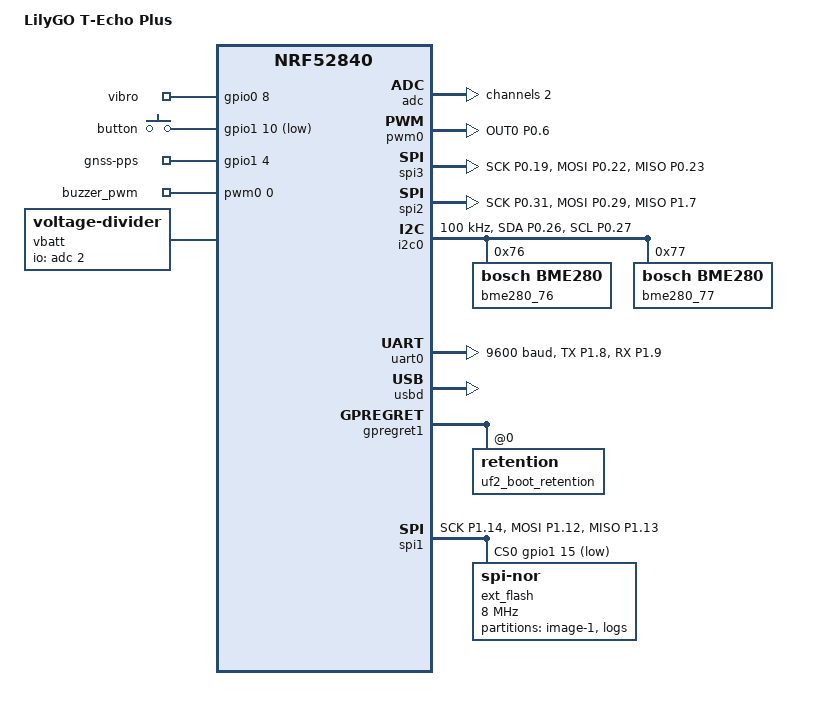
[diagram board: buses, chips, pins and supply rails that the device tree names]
/dts-v1/;
#include <nordic/nrf52840_qiaa.dtsi>
#include <zephyr/dt-bindings/adc/adc.h>
#include <zephyr/dt-bindings/adc/nrf-saadc.h>
#include <zephyr/dt-bindings/gpio/gpio.h>
#include <zephyr/dt-bindings/i2c/i2c.h>


/ {
	model = "LilyGO T-Echo Plus";
	compatible = "lilygo,t-echo-plus";

	chosen {
		zephyr,sram = &sram0;
		zephyr,flash = &flash0;
		zephyr,code-partition = &slot0_partition;
		zephyr,console = &cdc_acm_uart0;
		zephyr,shell-uart = &cdc_acm_uart0;
	};

	aliases {
		radio-spi = &spi3;
		epd-spi = &spi2;
		gnss-uart = &uart0;
		buzzer = &buzzer_pwm;
		vibro = &vibro_gpio;
		button = &button_gpio;
		gnss-pps = &gnss_pps_gpio;
		watchdog0 = &wdt0;
	};

	board_gpios {
		compatible = "gpio-keys";

		/* Plus-only haptic driver enable (P0.08). */
		vibro_gpio: vibro {
			gpios = <&gpio0 8 GPIO_ACTIVE_HIGH>;
			label = "vibro";
		};

		/* Main button (P1.10), active-low with a pull-up. */
		button_gpio: button {
			gpios = <&gpio1 10 (GPIO_ACTIVE_LOW | GPIO_PULL_UP)>;
			label = "button";
		};

		/* L76K 1 PPS (P1.04): the slot clock's only hardware anchor. */
		gnss_pps_gpio: gnss_pps {
			gpios = <&gpio1 4 GPIO_ACTIVE_HIGH>;
			label = "gnss-pps";
		};
	};

	pwmleds {
		compatible = "pwm-leds";
		buzzer_pwm: buzzer_pwm {
			pwms = <&pwm0 0 PWM_HZ(2000) PWM_POLARITY_NORMAL>;
		};
	};

	/*
	 * Battery sense: the pack sits behind a 100K + 100K divider on P0.04
	 * (AIN2), so the ADC sees half the cell voltage. Ratio lives here, not in
	 * code: it is a fact about the board, and the divider driver scales the
	 * reading back with it.
	 * sources: SoftRF platform/nRF52.h SOC_GPIO_PIN_BATTERY = P0.04 with
	 * SOC_ADC_VOLTAGE_DIV 2.0, and Meshtastic's t-echo variant (same net).
	 */
	vbatt: vbatt {
		compatible = "voltage-divider";
		io-channels = <&adc 2>;
		output-ohms = <100000>;
		full-ohms = <200000>;
	};
};

/*
 * SAADC for the battery divider. 0.6 V internal reference at gain 1/6 gives a
 * 3.6 V full scale, against the 2.1 V the divider presents at full charge; 40 us
 * of acquisition is what a 100K source impedance needs to settle.
 */
&adc {
	status = "okay";
	#address-cells = <1>;
	#size-cells = <0>;

	channel@2 {
		reg = <2>;
		zephyr,gain = "ADC_GAIN_1_6";
		zephyr,reference = "ADC_REF_INTERNAL";
		zephyr,acquisition-time = <ADC_ACQ_TIME(ADC_ACQ_TIME_MICROSECONDS, 40)>;
		zephyr,input-positive = <NRF_SAADC_AIN2>;
		zephyr,resolution = <12>;
	};
};

&pinctrl {
	/* Radio SPI (SX1262): SCK P0.19, MOSI P0.22, MISO P0.23. Confirmed. */
	spi3_default: spi3_default {
		group1 {
			psels = <NRF_PSEL(SPIM_SCK, 0, 19)>,
				<NRF_PSEL(SPIM_MOSI, 0, 22)>,
				<NRF_PSEL(SPIM_MISO, 0, 23)>;
		};
	};
	spi3_sleep: spi3_sleep {
		group1 {
			psels = <NRF_PSEL(SPIM_SCK, 0, 19)>,
				<NRF_PSEL(SPIM_MOSI, 0, 22)>,
				<NRF_PSEL(SPIM_MISO, 0, 23)>;
			low-power-enable;
		};
	};

	/*
	 * E-paper SPI (SSD1681): SCK P0.31, MOSI P0.29, MISO P1.07.
	 *
	 * P1.07 is a placeholder MISO: the panel is write-only. It is P1.07 and
	 * not P0.07 on purpose: P0.07 belongs to the external flash (IO2/WP#, see
	 * board.c), and Meshtastic's t-echo-plus variant.h:113 picks P1.07 for the
	 * same reason.
	 */
	spi2_default: spi2_default {
		group1 {
			psels = <NRF_PSEL(SPIM_SCK, 0, 31)>,
				<NRF_PSEL(SPIM_MOSI, 0, 29)>,
				<NRF_PSEL(SPIM_MISO, 1, 7)>;
		};
	};
	spi2_sleep: spi2_sleep {
		group1 {
			psels = <NRF_PSEL(SPIM_SCK, 0, 31)>,
				<NRF_PSEL(SPIM_MOSI, 0, 29)>,
				<NRF_PSEL(SPIM_MISO, 1, 7)>;
			low-power-enable;
		};
	};

	/* External flash, on SPIM1 rather than the QSPI peripheral - see the node
	 * below for why. Same six lines as the QSPI wiring:
	 *   SCK P1.14  CS P1.15  IO0/MOSI P1.12  IO1/MISO P1.13  IO2 P0.07  IO3 P0.05
	 * IO2/IO3 are WP# and HOLD# in single-line mode and are driven high by
	 * board.c, not by pinctrl, because they must be high before MCUboot's flash
	 * driver runs.
	 * sources: Meshtastic t-echo-plus variant.h:70-75, nrf52-ogn-tracker
	 * variants/t_echo/variant.h:56-61, and SoftRF iomap/LilyGO_TEcho.h:88-93.
	 */
	spi1_default: spi1_default {
		group1 {
			psels = <NRF_PSEL(SPIM_SCK, 1, 14)>,
				<NRF_PSEL(SPIM_MOSI, 1, 12)>,
				<NRF_PSEL(SPIM_MISO, 1, 13)>;
		};
	};
	spi1_sleep: spi1_sleep {
		group1 {
			psels = <NRF_PSEL(SPIM_SCK, 1, 14)>,
				<NRF_PSEL(SPIM_MOSI, 1, 12)>,
				<NRF_PSEL(SPIM_MISO, 1, 13)>;
			low-power-enable;
		};
	};

	/* GNSS UART (L76K): nRF TX P1.08 -> GPS RX, nRF RX P1.09 <- GPS TX. Confirmed. */
	uart0_default: uart0_default {
		group1 {
			psels = <NRF_PSEL(UART_TX, 1, 8)>;
		};
		group2 {
			psels = <NRF_PSEL(UART_RX, 1, 9)>;
			bias-pull-up;
		};
	};
	uart0_sleep: uart0_sleep {
		group1 {
			psels = <NRF_PSEL(UART_TX, 1, 8)>, <NRF_PSEL(UART_RX, 1, 9)>;
			low-power-enable;
		};
	};

	/* Sensor I2C (BME280 @ 0x76): SDA P0.26, SCL P0.27.
	 * TWIM0 shares its peripheral ID with SPIM0/SPIS0, which this board does
	 * not use (the radio is on spi3, the panel on spi2), so i2c0 is free. */
	i2c0_default: i2c0_default {
		group1 {
			psels = <NRF_PSEL(TWIM_SDA, 0, 26)>, <NRF_PSEL(TWIM_SCL, 0, 27)>;
		};
	};
	i2c0_sleep: i2c0_sleep {
		group1 {
			psels = <NRF_PSEL(TWIM_SDA, 0, 26)>, <NRF_PSEL(TWIM_SCL, 0, 27)>;
			low-power-enable;
		};
	};

	/* Buzzer PWM on P0.06 (Meshtastic t-echo-plus PIN_BUZZER). Plus-only. */
	pwm0_default: pwm0_default {
		group1 {
			psels = <NRF_PSEL(PWM_OUT0, 0, 6)>;
		};
	};
	pwm0_sleep: pwm0_sleep {
		group1 {
			psels = <NRF_PSEL(PWM_OUT0, 0, 6)>;
			low-power-enable;
		};
	};
};

&gpio0 { status = "okay"; };
&gpio1 { status = "okay"; };
&gpiote { status = "okay"; };

&pwm0 {
	status = "okay";
	pinctrl-0 = <&pwm0_default>;
	pinctrl-1 = <&pwm0_sleep>;
	pinctrl-names = "default", "sleep";
};

&spi3 {
	compatible = "nordic,nrf-spim";
	status = "okay";
	pinctrl-0 = <&spi3_default>;
	pinctrl-1 = <&spi3_sleep>;
	pinctrl-names = "default", "sleep";
	/* CS driven manually by the SX1262 driver (io::Spi::select) on P0.24. */
	cs-gpios = <&gpio0 24 GPIO_ACTIVE_LOW>;
};

&spi2 {
	compatible = "nordic,nrf-spim";
	status = "okay";
	pinctrl-0 = <&spi2_default>;
	pinctrl-1 = <&spi2_sleep>;
	pinctrl-names = "default", "sleep";
	/* CS driven manually by the SSD1681 driver on P0.30. */
	cs-gpios = <&gpio0 30 GPIO_ACTIVE_LOW>;
};

/* Sensor I2C. Nothing on this bus is guaranteed to be fitted.
 *
 * The BME280 is "optional, selected" in our BOM, AND its address is disputed:
 * Our BOM says 0x76, LilyGO's own README I2C table and SoftRF's
 * platform/nRF52.h both say 0x77. Nobody has checked a unit. So BOTH are
 * declared: Zephyr's driver verifies the chip id at init, the absent one simply
 * never becomes ready, and the application takes whichever answered. Two device
 * instances cost a few hundred bytes and buy one image that boots on either
 * variant instead of silently having no barometer on half of them.
 *
 * The IMU header (0x28 BHI260AP / 0x68 ICM-20948) is deliberately not declared:
 * nothing drives it.
 */
&i2c0 {
	compatible = "nordic,nrf-twim";
	status = "okay";
	pinctrl-0 = <&i2c0_default>;
	pinctrl-1 = <&i2c0_sleep>;
	pinctrl-names = "default", "sleep";
	clock-frequency = <I2C_BITRATE_STANDARD>;

	bme280_76: bme280@76 {
		compatible = "bosch,bme280";
		reg = <0x76>;
		status = "okay";
	};

	bme280_77: bme280@77 {
		compatible = "bosch,bme280";
		reg = <0x77>;
		status = "okay";
	};
};

&uart0 {
	compatible = "nordic,nrf-uarte";
	status = "okay";
	current-speed = <9600>;
	pinctrl-0 = <&uart0_default>;
	pinctrl-1 = <&uart0_sleep>;
	pinctrl-names = "default", "sleep";
};

/* USB CDC ACM = console/log + a wired MCUmgr DFU transport.
 *
 * The `zephyr_udc0` label is REQUIRED, not decoration: the USB device next
 * stack's CDC ACM serial helper does USBD_DEVICE_DEFINE(...,
 * DEVICE_DT_GET(DT_NODELABEL(zephyr_udc0)), ...), so without this label the
 * console does not build. Same idiom as the upstream nRF52840 board files.
 */
zephyr_udc0: &usbd {
	status = "okay";
	cdc_acm_uart0: cdc_acm_uart0 {
		compatible = "zephyr,cdc-acm-uart";
	};
};

/*
 * GPREGRET is a hardware-retained byte that survives a warm reset. The factory
 * Adafruit bootloader reads it on every boot and enters USB mass-storage DFU
 * when it holds 0x57 (DFU_MAGIC_UF2_RESET, Adafruit_nRF52_Bootloader
 * src/main.cpp:109). Exposing it as a Zephyr `retention` area is how the
 * application asks to be rebooted into drag-and-drop mode without touching a
 * register directly. Same shape ZMK uses (app/dts/common/nordic/
 * nrf52840_uf2_boot_mode.dtsi).
 *
 * No `prefix` and no `checksum` on purpose: the binding defaults both off
 * (dts/bindings/retention/zephyr,retention.yaml), so a one-byte
 * retention_write() puts exactly 0x57 in the register, which is what the
 * bootloader compares against.
 */
&gpregret1 {
	uf2_boot_retention: retention@0 {
		compatible = "zephyr,retention";
		status = "okay";
		reg = <0x0 0x1>;
	};
};

/*
 * Internal 1 MB flash. The factory Adafruit UF2 bootloader owns both ends and
 * we never write either: MBR + SoftDevice below 0x26000, bootloader + MBR
 * params + settings from 0xF4000. MCUboot is chain-loaded as the "application"
 * the UF2 bootloader starts.
 *
 * The drag-and-drop write window is USER_FLASH_START..USER_FLASH_END =
 * 0x1000..0xEA000 (Adafruit_nRF52_Bootloader src/usb/uf2/uf2cfg.h:25-26 with
 * DFU_APP_DATA_RESERVED = 10*4096, Makefile:139). Everything a .uf2 must carry
 * (MCUboot and slot0) therefore lives strictly below 0xEA000, and NVS lives
 * above it inside the 40 KB the bootloader reserves for application data.
 *
 * The secondary slot is NOT here: it is on the external SPI NOR part (&ext_flash
 * below), which is what buys slot0 its full 728 KB.
 */
&flash0 {
	partitions {
		compatible = "fixed-partitions";
		#address-cells = <1>;
		#size-cells = <1>;

		/* MBR (4 KB) + SoftDevice S140 6.1.1 (148 KB). Factory-programmed,
		 * never linked against, never enabled: Zephyr's own BLE controller
		 * drives the radio. Declared only so nothing can allocate over it. */
		softdevice_partition: partition@0 {
			label = "softdevice";
			read-only;
			reg = <0x00000000 0x00026000>;
		};

		boot_partition: partition@26000 {
			label = "mcuboot";
			reg = <0x00026000 0x0000E000>;
		};

		slot0_partition: partition@34000 {
			label = "image-0";
			reg = <0x00034000 0x000B6000>;
		};

		/* 0xEA000..0xEC000 is deliberately unallocated: it is above
		 * USER_FLASH_END, so a .uf2 cannot reach it, and it keeps NVS on the
		 * same 8 KB boundary upstream uses. */

		storage_partition: partition@ec000 {
			label = "storage";
			reg = <0x000EC000 0x00008000>;
		};

		/* Adafruit bootloader (40 KB) + MBR params + bootloader settings.
		 * Factory-programmed. This is the recovery path: it is in a region
		 * the application cannot write, so a bad MCUboot is a double-tap
		 * and a drag-and-drop rather than an SWD session. */
		uf2_boot_partition: partition@f4000 {
			label = "uf2-bootloader";
			read-only;
			reg = <0x000F4000 0x0000C000>;
		};
	};
};

/*
 * On-board external 2 MiB SPI NOR flash. THE PART IS NOT FIXED.
 *
 * LilyGO's own README states it: "Flash Chip Variants: Flash will choose either
 * MX25R1635FZUIL0 or ZD25WQ16B depending on availability." There is no revision
 * or date split - you cannot tell from the board rev, the silkscreen or the
 * serial. SoftRF and nrf52-ogn-tracker both keep BOTH parts in a runtime JEDEC
 * probe table for every revision.
 *
 * That is why this is `jedec,spi-nor` with CONFIG_SPI_NOR_SFDP_RUNTIME=y and not
 * `nordic,qspi-nor`. The QSPI driver compares the devicetree `jedec-id` against
 * the chip and returns -ENODEV on mismatch (drivers/flash/nrf_qspi_nor.c), which
 * leaves the device permanently not-ready: the unit boots, flies, and - because
 * slot1 lives here - can NEVER be updated over the air, silently. The generic
 * driver compiles that check out under SFDP_RUNTIME and reads geometry, page
 * size, erase sizes and the quad-enable requirement from the chip's own SFDP
 * tables, so one image serves both parts and any future third source.
 *
 * A single image could not use quad mode anyway: the two parts differ in
 * quad-enable bit (MX25R SR1 bit 6 vs ZD25 SR2 bit 1) and in quad page-program
 * opcode (38h vs 32h), and both are compile-time devicetree properties. Plain
 * 03h READ is spec'd at 33 MHz on both, which is why `use-fast-read` is NOT set:
 * 0Bh is capped at 8 MHz on the MX25R in its default ultra-low-power mode.
 *
 * SPIM1, not SPIM3: SPIM3 is the only 32 MHz instance and the SX1262 has it.
 * SPIM1 tops out at 8 MHz, so this is ~1 MB/s against the ~4 MB/s of the old
 * 8 MHz quad setup. That does not matter - an MCUboot swap is dominated by
 * nRF52840 internal page erases (~85 ms x 182 pages is over 15 s), against which
 * the extra ~1.5 s of external transfer disappears.
 */
&spi1 {
	compatible = "nordic,nrf-spim";
	status = "okay";
	pinctrl-0 = <&spi1_default>;
	pinctrl-1 = <&spi1_sleep>;
	pinctrl-names = "default", "sleep";
	cs-gpios = <&gpio1 15 GPIO_ACTIVE_LOW>;

	ext_flash: flash@0 {
		compatible = "jedec,spi-nor";
		reg = <0>;
		/* 8 MHz is the SPIM1 ceiling and is within 03h READ spec on both parts. */
		spi-max-frequency = <8000000>;
		/* NOT read under CONFIG_SPI_NOR_SFDP_RUNTIME - the driver takes both
		 * from SFDP. Kept because the binding wants them and because they
		 * record what we EXPECT to find; they are not enforced, which is the
		 * entire point of this node. */
		jedec-id = [c2 28 15];
		/* BITS, not bytes: this binding's `size` is a bit count (upstream
		 * nrf52840dk gives its 8 MiB MX25R64 as 67108864). 16 Mbit = 2 MiB. */
		size = <16777216>;
		/* Both parts support B9h/ABh. MCUboot or a previous image may have left
		 * the chip in deep power-down, so the driver must issue the release -
		 * SoftRF sends a bare ABh before probing for the same reason. */
		has-dpd;
		t-enter-dpd = <10000>;
		t-exit-dpd = <35000>;

		partitions {
			compatible = "fixed-partitions";
			#address-cells = <1>;
			#size-cells = <1>;

			/*
			 * Secondary slot, EXACTLY THE SAME SIZE as slot0 (182 sectors
			 * of 4 KB = 0xB6000). Not one sector larger, even though
			 * mcuboot docs/design.md:296-299 calls that the most
			 * memory-efficient swap-using-offset layout.
			 *
			 * Zephyr derives imgtool's --slot-size from slot1, not slot0 -
			 * "Slot 1 size is used instead of slot 0 size"
			 * (zephyr/cmake/mcuboot.cmake:96-102). So --pad --confirm pads
			 * the image to slot1's length, and that padded image is what
			 * gets written straight into slot0 by the .uf2. Make slot1
			 * bigger and the trailer lands one sector past the end of
			 * slot0, above USER_FLASH_END, where the UF2 bootloader
			 * silently drops it. scripts/mkuf2.py caught exactly that.
			 *
			 * design.md:299 permits equal slots. The first sector of the
			 * secondary is still reserved for sector movement, so the
			 * usable image size is unchanged either way.
			 *
			 * Both slots must have the same sector size for this mode:
			 * nRF52840 page = 4096 B, and 4 KB sectors on both candidate
			 * external parts (they differ in quad config, not geometry).
			 */
			slot1_partition: partition@0 {
				label = "image-1";
				reg = <0x00000000 0x000B6000>;
			};

			/* ~1.29 MB left for flight logging. */
			log_partition: partition@b6000 {
				label = "logs";
				reg = <0x000B6000 0x0014A000>;
			};
		};
	};
};
